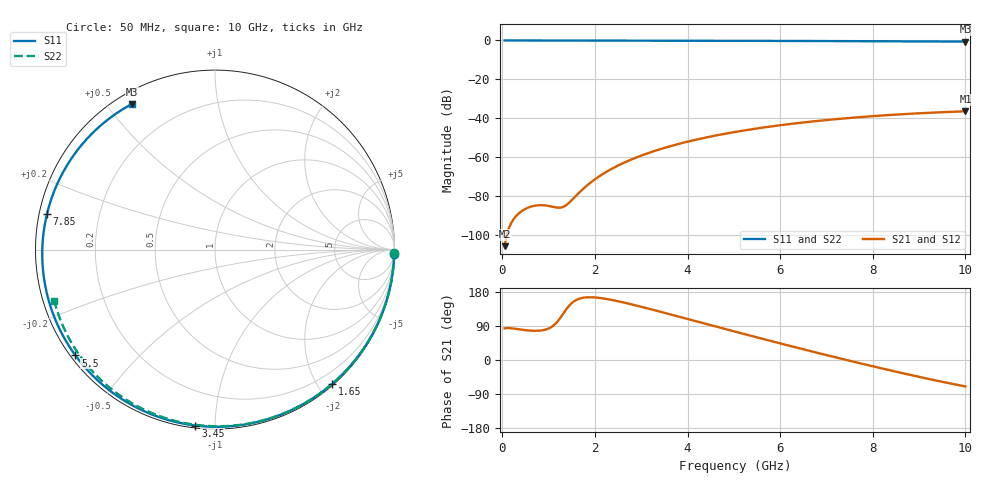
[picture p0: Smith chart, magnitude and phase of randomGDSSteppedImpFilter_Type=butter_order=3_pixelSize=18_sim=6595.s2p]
! freq	dB(S11)	phase(S11)	dB(S12)	phase(S12)
!  dB(S21)	phase(S21)	dB(S22)	phase(S22)
!S-par simulation data
#  GHz  S  DB  R 50
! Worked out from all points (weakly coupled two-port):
!   200 points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, 50 MHz to 10 GHz, reference 50 ohm
!   highest |S21| = -36.40 dB at 10 GHz (marker M1); lowest = -105.7 dB at 50 MHz (marker M2)
!   lowest |S11| = -0.6 dB at 10 GHz (marker M3), VSWR 29.22, Z = 2.29 + j29 ohm
!   |S11| at or under -10 dB: nowhere
!   |S22| runs from -0.5 to 0.0 dB; largest |S21 - S12| = 0
!   S11 on the Smith chart (normalised r, x): 50 MHz: 2, -78; 1.65 GHz: 0.02, -2.20; 3.45 GHz: 0.01, -0.89; 5.5 GHz: 0.01, -0.34; 7.85 GHz: 0.02, +0.11; 10 GHz: 0.05, +0.58
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0.05  -0.01 -1.5  -105.69 83.3  -105.69 83.3  -0.00 -0.9
0.4  -0.02 -12.1  -88.00 80.3  -88.00 80.3  -0.01 -7.6
0.75  -0.03 -22.6  -84.74 77.1  -84.74 77.1  -0.02 -14.2
1.55  -0.06 -46.0  -80.84 155.0  -80.84 155.0  -0.04 -29.0
1.6  -0.06 -47.5  -79.62 158.5  -79.62 158.5  -0.04 -30.0
1.65  -0.06 -48.9  -78.42 161.2  -78.42 161.2  -0.04 -30.9
1.75  -0.06 -51.7  -76.16 164.3  -76.16 164.3  -0.04 -32.7
2.05  -0.07 -60.0  -70.50 164.5  -70.50 164.5  -0.05 -38.2
2.45  -0.09 -70.9  -64.86 156.4  -64.86 156.4  -0.06 -45.3
2.9  -0.10 -82.6  -60.07 143.5  -60.07 143.5  -0.07 -53.3
3.4  -0.12 -95.1  -55.92 127.8  -55.92 127.8  -0.08 -61.9
3.45  -0.12 -96.3  -55.56 126.2  -55.56 126.2  -0.08 -62.7
4.2  -0.15 -114.1  -50.89 101.8  -50.89 101.8  -0.11 -75.3
5.05  -0.19 -133.1  -46.92 74.1  -46.92 74.1  -0.14 -89.0
5.5  -0.21 -142.8  -45.21 59.7  -45.21 59.7  -0.16 -96.0
6.1  -0.25 -155.5  -43.26 40.7  -43.26 40.7  -0.19 -105.2
6.7  -0.29 -168.0  -41.62 22.1  -41.62 22.1  -0.22 -114.2
7.3  -0.34 179.5  -40.23 4.0  -40.23 4.0  -0.26 -123.0
7.85  -0.38 167.9  -39.15 -12.3  -39.15 -12.3  -0.31 -130.9
8.35  -0.43 157.2  -38.32 -26.6  -38.32 -26.6  -0.35 -138.1
9.15  -0.51 139.6  -37.24 -48.5  -37.24 -48.5  -0.43 -149.7
10  -0.59 119.7  -36.40 -69.8  -36.40 -69.8  -0.54 -162.1
